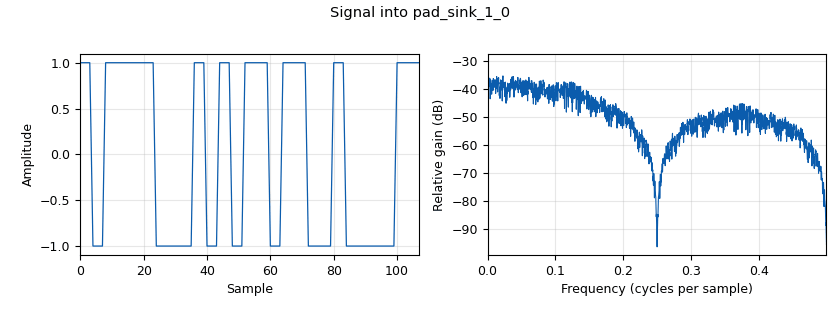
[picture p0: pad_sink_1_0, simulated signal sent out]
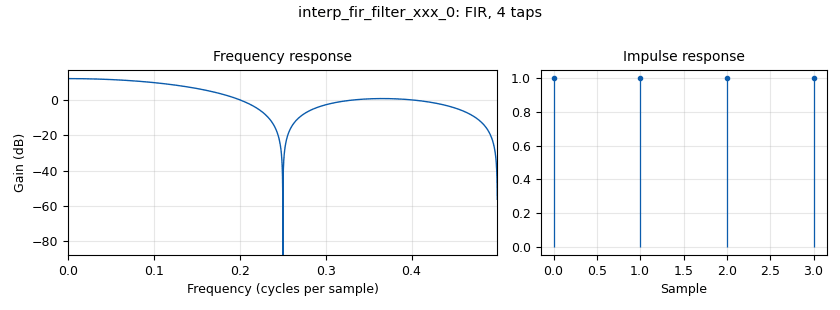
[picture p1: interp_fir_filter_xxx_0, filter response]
options:
  parameters:
    category: '''[en_prueba]'''
    generate_options: hb
    id: b_borrar
    output_language: python
    title: b_borrar
  states: {}

blocks:
- name: Sps
  id: parameter
  parameters:
    label: Sps
    value: '4'
  states: {}
- name: analog_random_source_x_0
  id: analog_random_source_x
  parameters:
    max: '2'
    min: '0'
    num_samps: '1000000'
    repeat: 'True'
    type: int
  states: {}
- name: blocks_add_const_vxx_0
  id: blocks_add_const_vxx
  parameters:
    const: '-0.5'
    type: float
  states: {}
- name: blocks_int_to_float_0
  id: blocks_int_to_float
  parameters:
    scale: '1'
  states: {}
- name: blocks_multiply_const_vxx_0
  id: blocks_multiply_const_vxx
  parameters:
    const: '2.'
    type: float
  states: {}
- name: h
  id: parameter
  parameters:
    label: Rta impulso
    value: '[1,1,1,1]'
  states: {}
- name: import_0
  id: import
  parameters:
    imports: import math
  states: {}
- name: interp_fir_filter_xxx_0
  id: interp_fir_filter_xxx
  parameters:
    interp: Sps
    taps: h
    type: fff
  states: {}
- name: pad_sink_1_0
  id: pad_sink
  parameters:
    label: out
    type: float
  states: {}

connections:
- [analog_random_source_x_0, '0', blocks_int_to_float_0, '0']
- [blocks_add_const_vxx_0, '0', blocks_multiply_const_vxx_0, '0']
- [blocks_int_to_float_0, '0', blocks_add_const_vxx_0, '0']
- [blocks_multiply_const_vxx_0, '0', interp_fir_filter_xxx_0, '0']
- [interp_fir_filter_xxx_0, '0', pad_sink_1_0, '0']

metadata:
  file_format: 1
